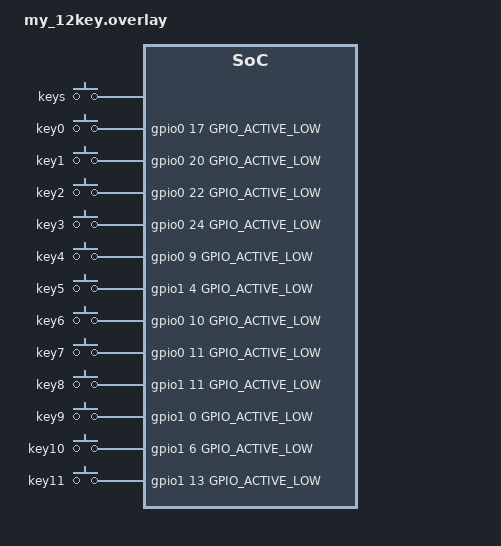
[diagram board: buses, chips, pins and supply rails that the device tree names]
#include <dt-bindings/gpio/gpio.h>

/ {
	chosen {
		zmk,kscan = &kscan_gpio;
	};

	kscan_gpio: kscan_gpio_keys {
		compatible = "zmk,kscan-gpio-keys";
		debounce-press-ms = <15>;
		debounce-release-ms = <15>;

		keys {
			key0 { gpios = <&gpio0 17 GPIO_ACTIVE_LOW GPIO_PULL_UP>; };
			key1 { gpios = <&gpio0 20 GPIO_ACTIVE_LOW GPIO_PULL_UP>; };
			key2 { gpios = <&gpio0 22 GPIO_ACTIVE_LOW GPIO_PULL_UP>; };
			key3 { gpios = <&gpio0 24 GPIO_ACTIVE_LOW GPIO_PULL_UP>; };
			key4 { gpios = <&gpio0  9 GPIO_ACTIVE_LOW GPIO_PULL_UP>; };
			key5 { gpios = <&gpio1  4 GPIO_ACTIVE_LOW GPIO_PULL_UP>; };
			key6 { gpios = <&gpio0 10 GPIO_ACTIVE_LOW GPIO_PULL_UP>; };
			key7 { gpios = <&gpio0 11 GPIO_ACTIVE_LOW GPIO_PULL_UP>; };
			key8 { gpios = <&gpio1 11 GPIO_ACTIVE_LOW GPIO_PULL_UP>; };
			key9 { gpios = <&gpio1  0 GPIO_ACTIVE_LOW GPIO_PULL_UP>; };
			key10{ gpios = <&gpio1  6 GPIO_ACTIVE_LOW GPIO_PULL_UP>; };
			key11{ gpios = <&gpio1 13 GPIO_ACTIVE_LOW GPIO_PULL_UP>; };
		};
	};
};
